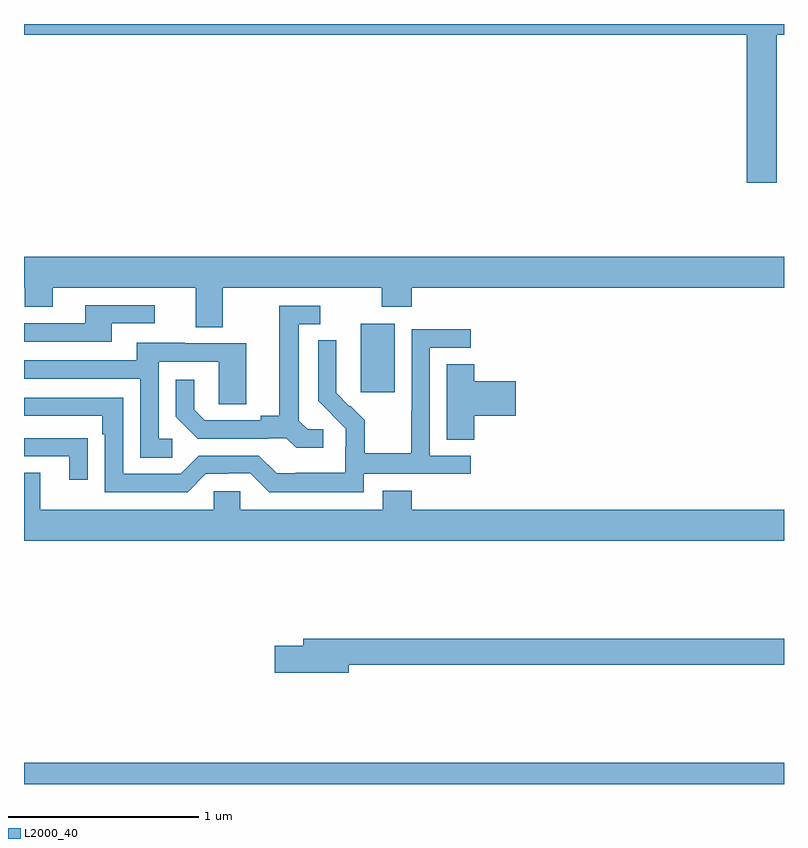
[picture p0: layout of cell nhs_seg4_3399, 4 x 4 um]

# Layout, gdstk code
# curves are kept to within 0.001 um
import gdstk
lib = gdstk.Library(unit=1e-6, precision=1e-09)
def R(c, l, rs):  # rectangles x0, y0, x1, y1
    for r in rs: c.add(gdstk.rectangle(r[:2], r[2:], *l))
def P(c, l, *ps):  # polygons
    for p in ps: c.add(gdstk.Polygon(p, *l))
L2000_40 = (2000, 40)

nhs_seg4_3399 = lib.new_cell('nhs_seg4_3399')
R(nhs_seg4_3399, L2000_40, [(291,768.9,295,769.012), (292.772,770.961,292.951,771.322)])
P(nhs_seg4_3399, L2000_40, [(294.963,772.844),(295,772.844),(295,772.9),(291,772.9),(291,772.844),(294.803,772.844),(294.803,772.065),(294.963,772.065)],
  [(292.045,771.512),(292.882,771.512),(292.882,771.413),(293.042,771.413),(293.042,771.512),(295,771.512),(295,771.676),(291,771.676),(291,771.512),(291.004,771.512),(291.004,771.413),(291.151,771.413),(291.151,771.512),(291.905,771.512),(291.905,771.304),(292.045,771.304)],
  [(291.463,771.324),(291.688,771.324),(291.688,771.42),(291.323,771.42),(291.323,771.324),(291,771.324),(291,771.228),(291.463,771.228)],
  [(292.576,770.766),(292.494,770.766),(292.447,770.813),(292.447,771.321),(292.558,771.321),(292.558,771.417),(292.343,771.417),(292.343,770.837),(292.247,770.837),(292.247,770.814),(291.952,770.814),(291.895,770.871),(291.895,771.028),(291.798,771.028),(291.798,770.834),(291.914,770.718),(292.286,770.718),(292.286,770.721),(292.38,770.721),(292.432,770.669),(292.576,770.669)],
  [(292.788,770.532),(293.35,770.532),(293.35,770.628),(293.136,770.628),(293.136,771.195),(293.35,771.195),(293.35,771.294),(293.04,771.294),(293.04,770.864),(293.038,770.864),(293.038,770.641),(292.793,770.641),(292.793,770.815),(292.716,770.892),(292.713,770.889),(292.643,770.96),(292.644,771.236),(292.548,771.236),(292.548,770.918),(292.694,770.77),(292.694,770.673),(292.692,770.673),(292.692,770.539),(292.429,770.539),(292.429,770.535),(292.329,770.535),(292.236,770.628),(291.921,770.628),(291.825,770.532),(291.522,770.532),(291.522,770.934),(291,770.934),(291,770.838),(291.413,770.838),(291.413,770.741),(291.426,770.741),(291.426,770.436),(291.861,770.436),(291.957,770.532),(292.076,770.532),(292.076,770.535),(292.191,770.535),(292.291,770.435),(292.788,770.435)],
  [(291.781,770.718),(291.708,770.718),(291.708,771.123),(292.026,771.123),(292.026,770.899),(292.171,770.899),(292.171,771.219),(291.847,771.219),(291.847,771.223),(291.593,771.223),(291.593,771.129),(291,771.129),(291,771.033),(291.612,771.033),(291.612,770.617),(291.781,770.617)],
  [(293.369,770.837),(293.587,770.837),(293.587,771.02),(293.369,771.02),(293.369,771.11),(293.225,771.11),(293.225,770.713),(293.369,770.713)],
  [(291.335,770.72),(291.233,770.72),(291.233,770.721),(291,770.721),(291,770.625),(291.239,770.625),(291.239,770.502),(291.335,770.502)],
  [(295,770.344),(293.042,770.344),(293.042,770.443),(292.889,770.443),(292.889,770.344),(292.137,770.344),(292.137,770.442),(291.999,770.442),(291.999,770.344),(291.085,770.344),(291.085,770.539),(291,770.539),(291,770.18),(295,770.18)],
  [(292.708,769.528),(295,769.528),(295,769.664),(292.469,769.664),(292.469,769.628),(292.32,769.628),(292.32,769.486),(292.708,769.486)])

lib.write_gds('nhs_seg4_3399.gds')
